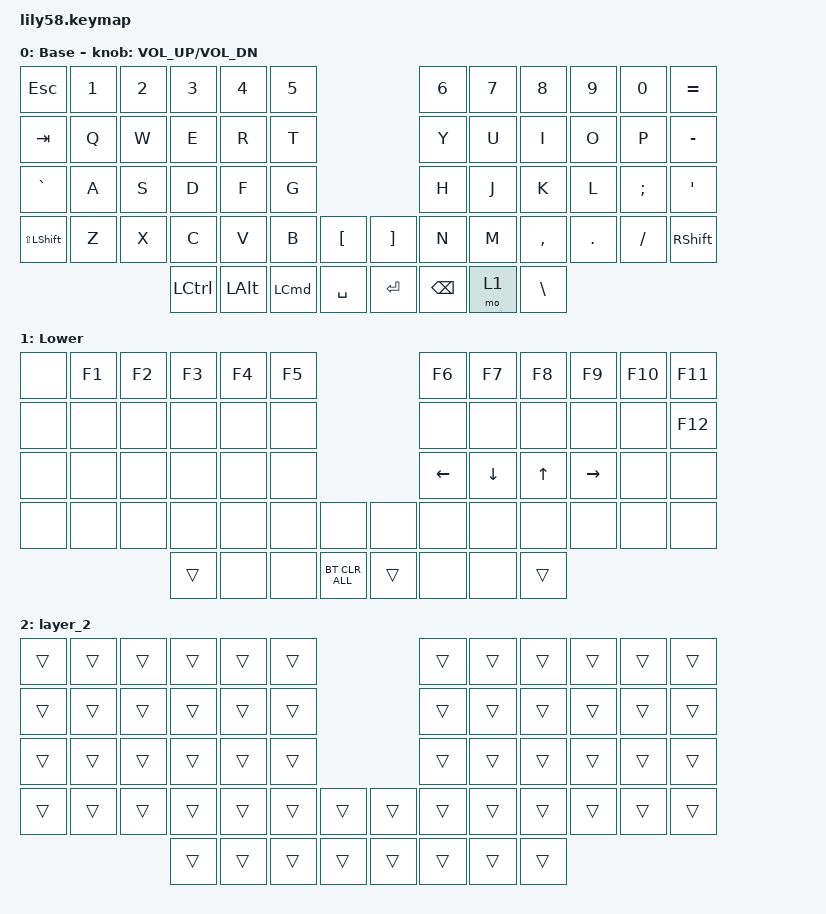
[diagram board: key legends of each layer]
/*
 * Copyright (c) 2020 The ZMK Contributors
 *
 * SPDX-License-Identifier: MIT
 */

#include <behaviors.dtsi>
#include <dt-bindings/zmk/bt.h>
#include <dt-bindings/zmk/keys.h>

/ {
    keymap {
        compatible = "zmk,keymap";

        layer_0 {
            // ------------------------------------------------------------------------------------------------------------
            // |  ESC  |  1  |  2  |  3   |  4   |  5   |                   |  6   |  7    |  8    |  9   |   0   |   `   |
            // |  TAB  |  Q  |  W  |  E   |  R   |  T   |                   |  Y   |  U    |  I    |  O   |   P   |   -   |
            // |  CTRL |  A  |  S  |  D   |  F   |  G   |                   |  H   |  J    |  K    |  L   |   ;   |   '   |
            // | SHIFT |  Z  |  X  |  C   |  V   |  B   |   "["  |  |  "]"  |  N   |  M    |  ,    |  .   |   /   | SHIFT |
            //                     | ALT  | GUI  | LOWER|  SPACE |  | ENTER | RAISE| BSPC  | GUI   |

            display-name = "Base";
            bindings = <
&kp ESC             &kp N1  &kp N2  &kp N3     &kp N4        &kp N5                                    &kp N6         &kp N7  &kp N8         &kp N9   &kp N0    &kp EQUAL
&kp TAB             &kp Q   &kp W   &kp E      &kp R         &kp T                                     &kp Y          &kp U   &kp I          &kp O    &kp P     &kp MINUS
&kp GRAVE           &kp A   &kp S   &kp D      &kp F         &kp G                                     &kp H          &kp J   &kp K          &kp L    &kp SEMI  &kp SQT
&kp LS(LEFT_SHIFT)  &kp Z   &kp X   &kp C      &kp V         &kp B             &kp LBKT     &kp RBKT   &kp N          &kp M   &kp COMMA      &kp DOT  &kp FSLH  &kp RIGHT_SHIFT
                                    &kp LCTRL  &kp LEFT_ALT  &kp LEFT_COMMAND  &kp SPACE    &kp ENTER  &kp BACKSPACE  &mo 1   &kp BACKSLASH
            >;

            sensor-bindings = <&inc_dec_kp C_VOL_UP C_VOL_DN>;
        };

        layer_1 {
            // ------------------------------------------------------------------------------------------------------------
            // | BTCLR | BT1 | BT2 |  BT3 |  BT4 |  BT5 |                   |      |       |       |      |       |       |
            // |  F1   |  F2 |  F3 |  F4  |  F5  |  F6  |                   |  F7  |  F8   |  F9   |  F10 |  F11  |  F12  |
            // |   `   |  !  |  @  |  #   |  $   |  %   |                   |  ^   |  &    |  *    |  (   |   )   |   ~   |
            // |       |     |     |      |      |      |        |  |       |      |  _    |  +    |  {   |   }   |  "|"  |
            //                     |      |      |      |        |  |       |      |       |       |

            display-name = "Lower";
            bindings = <
&none  &kp F1  &kp F2  &kp F3  &kp F4  &kp F5                            &kp F6    &kp F7    &kp F8        &kp F9     &kp F10  &kp F11
&none  &none   &none   &none   &none   &none                             &none     &none     &none         &none      &none    &kp F12
&none  &none   &none   &none   &none   &none                             &kp LEFT  &kp DOWN  &kp UP_ARROW  &kp RIGHT  &none    &none
&none  &none   &none   &none   &none   &none   &none             &none   &none     &none     &none         &none      &none    &none
                       &trans  &none   &none   &bt BT_CLR_ALL    &trans  &none     &none     &trans
            >;
        };

        layer_2 {
            bindings = <
&trans  &trans  &trans  &trans  &trans  &trans                    &trans  &trans  &trans  &trans  &trans  &trans
&trans  &trans  &trans  &trans  &trans  &trans                    &trans  &trans  &trans  &trans  &trans  &trans
&trans  &trans  &trans  &trans  &trans  &trans                    &trans  &trans  &trans  &trans  &trans  &trans
&trans  &trans  &trans  &trans  &trans  &trans  &trans    &trans  &trans  &trans  &trans  &trans  &trans  &trans
                        &trans  &trans  &trans  &trans    &trans  &trans  &trans  &trans
            >;
        };
    };
};
